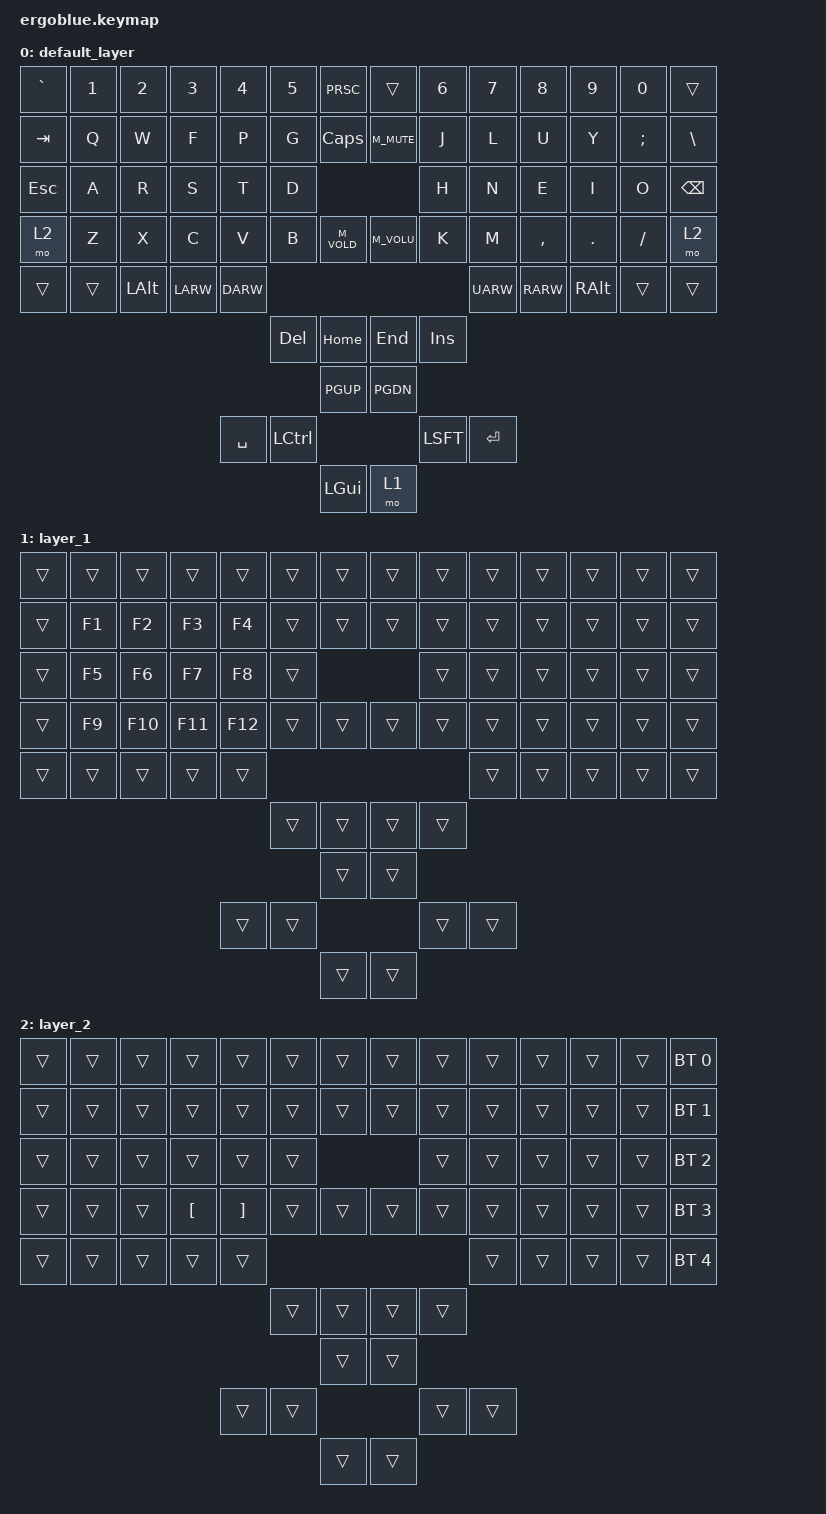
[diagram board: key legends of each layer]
/*
 * Copyright (c) 2020 The ZMK Contributors
 *
 * SPDX-License-Identifier: MIT
 */

#include <behaviors.dtsi>
#include <dt-bindings/zmk/keys.h>
#include <dt-bindings/zmk/bt.h>

/ {
        keymap {
                compatible = "zmk,keymap";

                default_layer {
                        bindings = <
    &kp GRAV   &kp NUM_1  &kp NUM_2  &kp NUM_3  &kp NUM_4  &kp NUM_5  &kp PRSC   &trans     &kp NUM_6  &kp NUM_7  &kp NUM_8  &kp NUM_9  &kp NUM_0  &trans
    &kp TAB    &kp Q      &kp W      &kp F      &kp P      &kp G      &kp CLCK   &kp M_MUTE &kp J      &kp L      &kp U      &kp Y      &kp SCLN   &kp BSLH
    &kp ESC    &kp A      &kp R      &kp S      &kp T      &kp D                            &kp H      &kp N      &kp E      &kp I      &kp O      &kp BKSP
    &mo 2      &kp Z      &kp X      &kp C      &kp V      &kp B      &kp M_VOLD &kp M_VOLU &kp K      &kp M      &kp CMMA   &kp DOT    &kp FSLH   &mo 2
    &trans     &trans     &kp LALT   &kp LARW   &kp DARW                                               &kp UARW   &kp RARW   &kp RALT   &trans     &trans
                                                           &kp DEL    &kp HOME   &kp END    &kp INS
                                                                      &kp PGUP   &kp PGDN
                                                &kp SPC    &kp LCTL                         &kp LSFT   &kp RET
                                                                      &kp LGUI   &mo 1
                        >;
                };

                layer_1 {
                        bindings = <
    &trans     &trans     &trans     &trans     &trans     &trans     &trans     &trans     &trans     &trans     &trans     &trans     &trans     &trans
    &trans     &kp F1     &kp F2     &kp F3     &kp F4     &trans     &trans     &trans     &trans     &trans     &trans     &trans     &trans     &trans
    &trans     &kp F5     &kp F6     &kp F7     &kp F8     &trans                           &trans     &trans     &trans     &trans     &trans     &trans
    &trans     &kp F9     &kp F10    &kp F11    &kp F12    &trans     &trans     &trans     &trans     &trans     &trans     &trans     &trans     &trans
    &trans     &trans     &trans     &trans     &trans                                                 &trans     &trans     &trans     &trans     &trans
                                                           &trans     &trans     &trans     &trans
                                                                      &trans     &trans
                                                &trans     &trans                           &trans     &trans
                                                                      &trans     &trans
                        >;
				};

                layer_2 {
                        bindings = <
    &trans     &trans     &trans     &trans     &trans     &trans     &trans     &trans     &trans     &trans     &trans     &trans     &trans     &bt BT_SEL 0
    &trans     &trans     &trans     &trans     &trans     &trans     &trans     &trans     &trans     &trans     &trans     &trans     &trans     &bt BT_SEL 1
    &trans     &trans     &trans     &trans     &trans     &trans                           &trans     &trans     &trans     &trans     &trans     &bt BT_SEL 2
    &trans     &trans     &trans     &kp LBKT   &kp RBKT   &trans     &trans     &trans     &trans     &trans     &trans     &trans     &trans     &bt BT_SEL 3
    &trans     &trans     &trans     &trans     &trans                                                 &trans     &trans     &trans     &trans     &bt BT_SEL 4
                                                           &trans     &trans     &trans     &trans
                                                                      &trans     &trans
                                                &trans     &trans                           &trans     &trans
                                                                      &trans     &trans
                        >;
				};
        };
};

